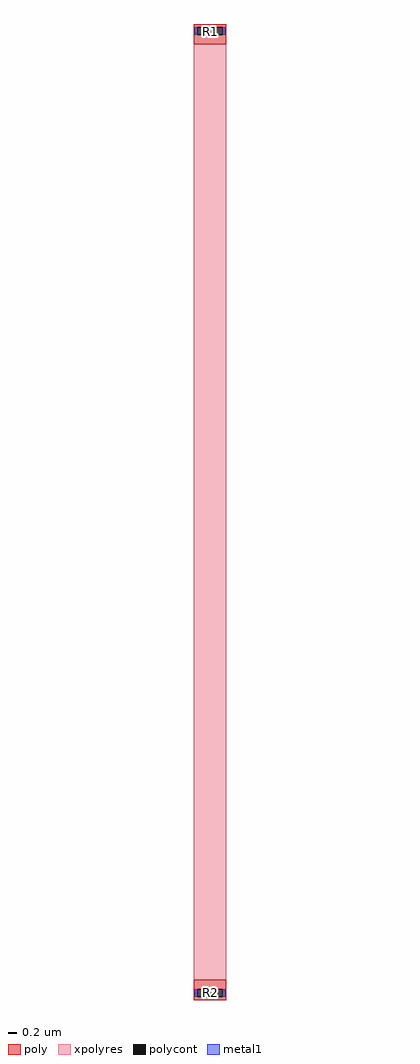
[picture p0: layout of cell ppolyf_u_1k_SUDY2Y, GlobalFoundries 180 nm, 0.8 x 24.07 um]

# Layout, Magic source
magic
tech gf180mcuD
magscale 3 26
<< poly >>
rect -69 2072 69 2086
rect -69 2040 -55 2072
rect 55 2040 69 2072
rect -69 2000 69 2040
rect -69 -2040 69 -2000
rect -69 -2072 -55 -2040
rect 55 -2072 69 -2040
rect -69 -2086 69 -2072
<< polycont >>
rect -55 2040 55 2072
rect -55 -2072 55 -2040
<< xpolyres >>
rect -69 -2000 69 2000
<< metal1 >>
rect -65 2040 -55 2072
rect 55 2040 65 2072
rect -65 -2072 -55 -2040
rect 55 -2072 65 -2040
<< labels >>
rlabel polycont 0 2056 0 2056 0 R1
port 1 nsew
rlabel polycont 0 -2056 0 -2056 0 R2
port 2 nsew
<< properties >>
string gencell ppolyf_u_1k
string library gf180mcu
string parameters w 0.69 l 20.0 m 1 nx 1 wmin 0.50 lmin 0.50 class resistor rho 1360 val 39.42k dummy 0 dw 0.0 term 0.0 sterm 0.0 caplen 0 bar 1 guard 0 glc 1 grc 1 gtc 1 gbc 1 snake 0 full_metal 1 n_guard 0 hv_guard 0 vias 0 viagb 0 viagt 0 viagl 0 viagr 0 doports 1
<< end >>
